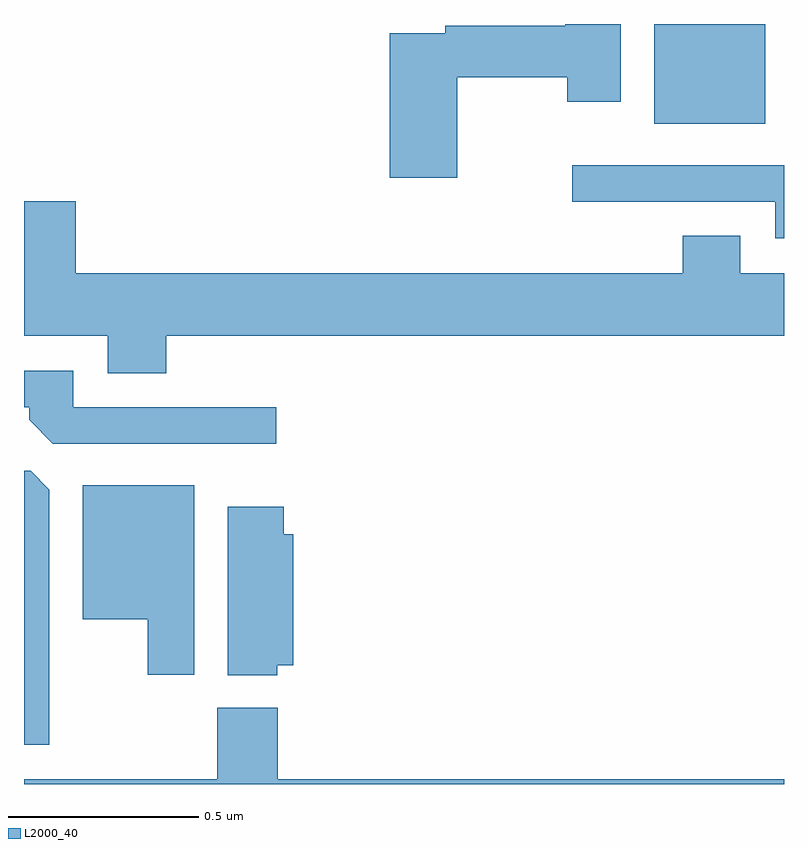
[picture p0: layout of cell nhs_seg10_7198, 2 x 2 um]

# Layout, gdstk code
import gdstk
lib = gdstk.Library(unit=1e-6, precision=1e-09)
def R(c, l, rs):  # rectangles x0, y0, x1, y1
    for r in rs: c.add(gdstk.rectangle(r[:2], r[2:], *l))
def P(c, l, *ps):  # polygons
    for p in ps: c.add(gdstk.Polygon(p, *l))
L2000_40 = (2000, 40)

nhs_seg10_7198 = lib.new_cell('nhs_seg10_7198')
R(nhs_seg10_7198, L2000_40, [(202.658,1270.238,202.951,1270.5)])
P(nhs_seg10_7198, L2000_40, [(202.14,1270.36),(202.429,1270.36),(202.429,1270.296),(202.57,1270.296),(202.57,1270.5),(202.424,1270.5),(202.424,1270.496),(202.108,1270.496),(202.108,1270.476),(201.962,1270.476),(201.962,1270.095),(202.14,1270.095)],
  [(203,1270.128),(202.443,1270.128),(202.443,1270.032),(202.977,1270.032),(202.977,1269.936),(203,1269.936)],
  [(201,1270.033),(201,1269.68),(201.221,1269.68),(201.221,1269.581),(201.374,1269.581),(201.374,1269.68),(203,1269.68),(203,1269.844),(202.885,1269.844),(202.885,1269.943),(202.733,1269.943),(202.733,1269.844),(201.136,1269.844),(201.136,1270.033)],
  [(201.664,1269.492),(201.129,1269.492),(201.129,1269.588),(201,1269.588),(201,1269.492),(201.014,1269.492),(201.014,1269.458),(201.075,1269.396),(201.664,1269.396)],
  [(201.067,1269.275),(201.018,1269.324),(201,1269.324),(201,1268.603),(201.067,1268.603)],
  [(201.448,1269.286),(201.155,1269.286),(201.155,1268.933),(201.326,1268.933),(201.326,1268.787),(201.448,1268.787)],
  [(201.666,1268.813),(201.709,1268.813),(201.709,1269.157),(201.683,1269.157),(201.683,1269.229),(201.536,1269.229),(201.536,1268.786),(201.666,1268.786)],
  [(203,1268.512),(201.668,1268.512),(201.668,1268.701),(201.508,1268.701),(201.508,1268.512),(201,1268.512),(201,1268.5),(203,1268.5)])

lib.write_gds('nhs_seg10_7198.gds')
